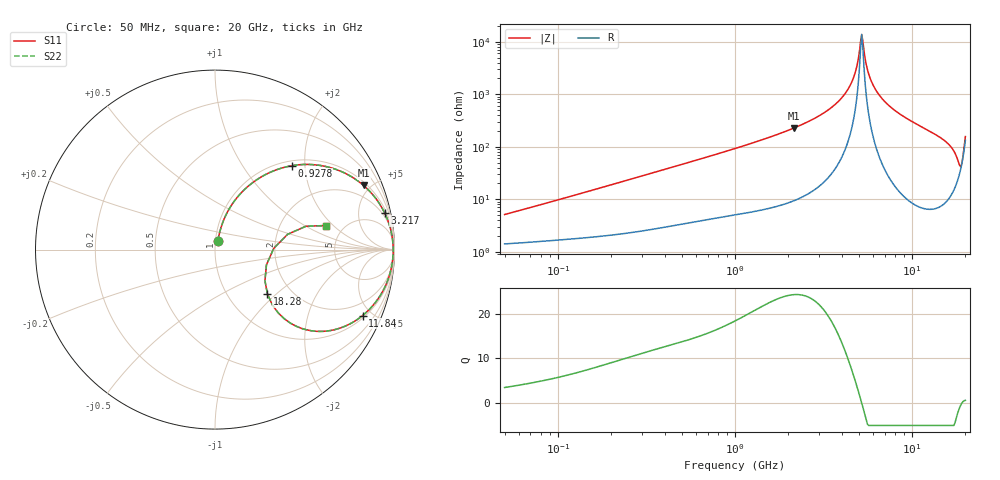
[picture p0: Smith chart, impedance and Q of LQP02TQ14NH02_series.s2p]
!Murata Part Number: LQP02TQ14NH02
!These Parameters are Measured in Series Mode Connection
!  o--[Z]--o
!Port1  Port2
!  o-------o
!Freq. Start=50[MHz] Stop=20[GHz], 401[Steps]
# Hz S RI R 50
!Freq.(Hz) S11(Real) S11(Imag) S21(Real) S21(Imag) S12(Real) S12(Imag) S22(Real) S22(Imag)
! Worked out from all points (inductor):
!   401 points, 50 MHz to 20 GHz, reference 50 ohm
!   read as one part in series: L = 15.5 nH near 51.52 MHz
!   highest Q = 24.3 at 2.147 GHz (marker M1), where L = 16.8 nH
!   self-resonance near 5.195 GHz
!   S11 on the Smith chart (normalised r, x): 50 MHz: 1.03, +0.10; 927.8 MHz: 1.10, +1.71; 3.217 GHz: 1.44, +9.08; 11.84 GHz: 1.13, -4.41; 18.28 GHz: 1.52, -0.88; 20 GHz: 3.66, +1.64
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5e7  0.0162 0.0477  0.9838 -0.0477  0.9838 -0.0477  0.0162 0.0477
1.364002e8  0.0334 0.1227  0.9666 -0.1227  0.9666 -0.1227  0.0334 0.1227
3.721004e8  0.1252 0.2926  0.8748 -0.2926  0.8748 -0.2926  0.1252 0.2926
9.278425e8  0.4267 0.4672  0.5733 -0.4672  0.5733 -0.4672  0.4267 0.4672
1e9  0.4631 0.4722  0.5369 -0.4722  0.5369 -0.4722  0.4631 0.4722
2.146657e9  0.8275 0.3578  0.1725 -0.3578  0.1725 -0.3578  0.8275 0.3578
2.728004e9  0.9058 0.2715  0.0942 -0.2715  0.0942 -0.2715  0.9058 0.2715
3.216634e9  0.9447 0.2055  0.0553 -0.2055  0.0553 -0.2055  0.9447 0.2055
4.405649e9  0.9868 0.0721  0.0132 -0.0721  0.0132 -0.0721  0.9868 0.0721
4.748272e9  0.9909 0.0395  0.00912 -0.0395  0.00912 -0.0395  0.9909 0.0395
5.041459e9  0.9925 0.0133  0.00748 -0.0133  0.00748 -0.0133  0.9925 0.0133
5.194772e9  0.9928 0.000163  0.0072 -0.000163  0.0072 -0.000163  0.9928 0.000163
5.352748e9  0.9927 -0.013  0.00728 0.013  0.00728 0.013  0.9927 -0.013
5.598765e9  0.9919 -0.0329  0.00809 0.0329  0.00809 0.0329  0.9919 -0.0329
5.944466e9  0.9895 -0.0594  0.0105 0.0594  0.0105 0.0594  0.9895 -0.0594
7.442007e9  0.9665 -0.1601  0.0335 0.1601  0.0335 0.1601  0.9665 -0.1601
1.183995e10  0.8226 -0.3674  0.1774 0.3674  0.1774 0.3674  0.8226 -0.3674
1.621653e10  0.537 -0.4523  0.463 0.4523  0.463 0.4523  0.537 -0.4523
1.747767e10  0.3868 -0.386  0.6132 0.386  0.6132 0.386  0.3868 -0.386
1.828096e10  0.2923 -0.248  0.7077 0.248  0.7077 0.248  0.2923 -0.248
1.912117e10  0.3273 0.00678  0.6727 -0.00678  0.6727 -0.00678  0.3273 0.00678
2e10  0.6182 0.134  0.3818 -0.134  0.3818 -0.134  0.6182 0.134
